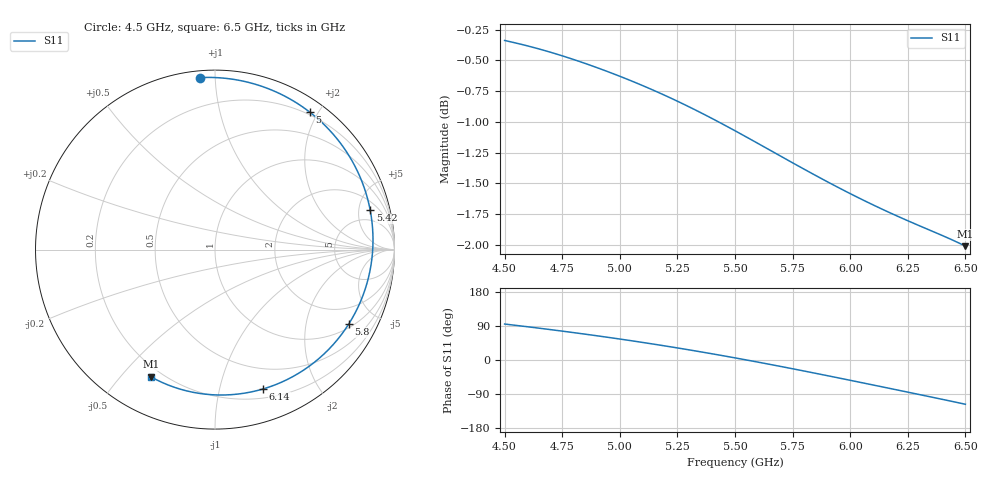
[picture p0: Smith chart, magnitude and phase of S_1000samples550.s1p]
! TOUCHSTONE file generated by CST MICROWAVE STUDIO
! Date and time: Fri Oct 28 13:34:54 2022
! Project name: L.cst
! Parameters = {Di=1.27; Epsilon_r=1.56; InnerDiameter=1.27; Length=2; Lf=10; Lg=60; OuterConductorThickness=0.2921; OuterDiameter=3.6; Wf=3; Wp=41.2; de=1.5; df=6.8; g=0.8; gx=4.54459; gy=3.61208; h=2.34; hf=1.524; px=10.6551; py=12.4639; w=9.7; wx=6.11049; wy=8.85182}
! Header version: 2018
! Port assignment regex: !\s*Touchstone port\s*([0-9]+)\s*=\s*(CST MWS port|CST DS port)\s*([0-9]+|Zmin|Zmax)\s*\(\"(.*)\"\)(\s*mode\s*([0-9]+))?.*
! Touchstone port assignment:
! Touchstone port 1 = CST MWS port 1 ("")
# GHz S DB R 50
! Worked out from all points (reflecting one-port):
!   101 points, 4.5 GHz to 6.5 GHz, reference 50 ohm
!   lowest |S11| = -2.0 dB at 6.5 GHz (marker M1), VSWR 8.68, Z = 7.9 - j30.2 ohm
!   phase of S11 starts at 95 deg and turns -212 deg over the sweep
!   S11 on the Smith chart (normalised r, x): 4.5 GHz: 0.04, +0.92; 5 GHz: 0.17, +1.90; 5.42 GHz: 3.06, +6.59; 5.8 GHz: 1.15, -3.50; 6.14 GHz: 0.29, -1.36; 6.5 GHz: 0.16, -0.60
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4.5  -0.34 94.9
4.58  -0.37 89.1
4.64  -0.40 84.7
4.76  -0.47 75.4
4.88  -0.54 65.6
5  -0.63 55.3
5.06  -0.67 49.9
5.12  -0.72 44.4
5.18  -0.77 38.7
5.26  -0.84 30.8
5.34  -0.91 22.7
5.42  -0.99 14.3
5.5  -1.07 5.6
5.58  -1.15 -3.4
5.64  -1.22 -10.2
5.7  -1.28 -17.2
5.76  -1.34 -24.3
5.8  -1.38 -29.1
5.9  -1.48 -41.2
6  -1.58 -53.6
6.08  -1.66 -63.5
6.14  -1.71 -71.0
6.2  -1.76 -78.6
6.26  -1.81 -86.1
6.32  -1.86 -93.7
6.38  -1.91 -101.3
6.44  -1.96 -109.0
6.5  -2.01 -116.8
